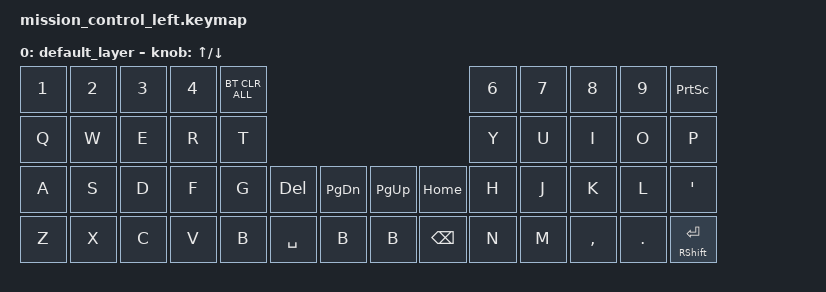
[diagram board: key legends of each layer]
#include <behaviors.dtsi>
#include <dt-bindings/zmk/bt.h>
#include <dt-bindings/zmk/keys.h>
#include <dt-bindings/zmk/mouse.h>

/ {
    keymap {
        compatible = "zmk,keymap";
        default_layer {
            bindings = <
                &kp N1    &kp N2   &kp N3    &kp N4    &bt BT_CLR_ALL                                              &kp N6    &kp N7     &kp N8     &kp N9    &kp PSCRN
                &kp Q     &kp W    &kp E     &kp R     &kp T                                                       &kp Y     &kp U      &kp I      &kp O     &kp P
                &kp A     &kp S    &kp D     &kp F     &kp G     &kp DEL   &kp PG_DN    &kp PG_UP   &kp HOME       &kp H     &kp J      &kp K      &kp L     &kp SQT
                &kp Z     &kp X    &kp C     &kp V     &kp B     &kp SPACE &kp B        &kp B       &kp BSPC       &kp N     &kp M      &kp COMMA  &kp DOT   &mt RSHFT ENTER
            >;

            sensor-bindings = <&inc_dec_kp UP DOWN_ARROW>;
        };
    };
};
